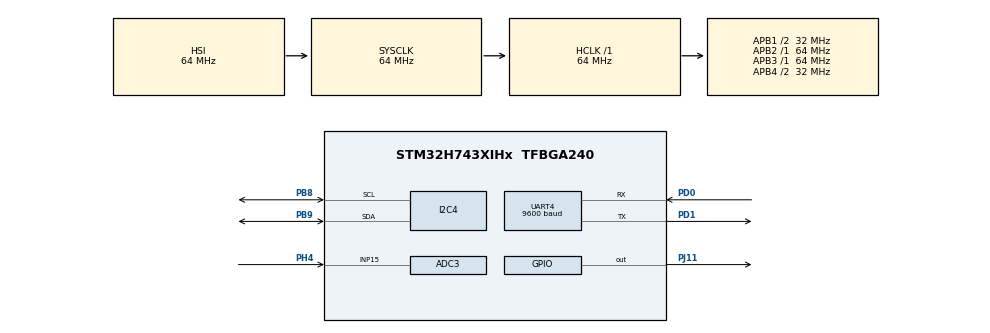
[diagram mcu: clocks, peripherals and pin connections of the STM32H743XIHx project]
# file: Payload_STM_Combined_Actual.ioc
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ADC3.Channel-0\#ChannelRegularConversion=ADC_CHANNEL_15
ADC3.NbrOfConversionFlag=1
ADC3.OffsetNumber-0\#ChannelRegularConversion=ADC_OFFSET_NONE
ADC3.OffsetSignedSaturation-0\#ChannelRegularConversion=DISABLE
ADC3.Rank-0\#ChannelRegularConversion=1
ADC3.SamplingTime-0\#ChannelRegularConversion=ADC_SAMPLETIME_1CYCLE_5
CORTEX_M7.default_mode_Activation=1
I2C4.Timing=0x00707CBB
Mcu.Family=STM32H7
Mcu.Name=STM32H743XIHx
Mcu.Package=TFBGA240
NVIC.PriorityGroup=NVIC_PRIORITYGROUP_4
PB8.Mode=I2C
PB8.Signal=I2C4_SCL
PB9.Mode=I2C
PB9.Signal=I2C4_SDA
PD0.Mode=Asynchronous
PD0.Signal=UART4_RX
PD1.Mode=Asynchronous
PD1.Signal=UART4_TX
PH4.Mode=IN15-Single-Ended
PH4.Signal=ADC3_INP15
PJ11.Signal=GPIO_Output
ProjectManager.HeapSize=0x200
ProjectManager.StackSize=0x400
ProjectManager.TargetToolchain=STM32CubeIDE
RCC.ADCFreq_Value=80000000
RCC.APB1Freq_Value=32000000
RCC.APB2Freq_Value=64000000
RCC.APB3Freq_Value=64000000
RCC.APB4Freq_Value=32000000
RCC.CortexFreq_Value=64000000
RCC.D2PPRE1=RCC_APB1_DIV2
RCC.D3PPRE=RCC_APB4_DIV2
RCC.DIVM2=4
RCC.DIVN2=10
RCC.HCLKFreq_Value=64000000
RCC.PLL2FRACN=0
RCC.SYSCLKFreq_VALUE=64000000
RCC.USBFreq_Value=129000000
UART4.BaudRate=9600
VP_MEMORYMAP_VS_MEMORYMAP.Mode=CurAppReg
board=custom

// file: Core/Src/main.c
/* USER CODE BEGIN Header */
/**
  ******************************************************************************
  * @file           : main.c
  * @brief          : Main program body
  ******************************************************************************
  * @attention
  *
  * Copyright (c) 2026 STMicroelectronics.
  * All rights reserved.
  *
  * This software is licensed under terms that can be found in the LICENSE file
  * in the root directory of this software component.
  * If no LICENSE file comes with this software, it is provided AS-IS.
  *
  ******************************************************************************
  */
/* USER CODE END Header */
#include "main.h"

/* USER CODE BEGIN Includes */
#include "gps.h"
#include <string.h>
#include <stdio.h>
/* USER CODE END Includes */

/* USER CODE BEGIN PD */
#define MCP3021_ADDR  (0x4D << 1)  // 7-bit addr shifted for HAL
#define MEAS_BUFFER_SIZE 100 // Keep this many values
/* USER CODE END PD */

ADC_HandleTypeDef hadc3;

I2C_HandleTypeDef hi2c4;

UART_HandleTypeDef huart4;

void SystemClock_Config(void);
static void MPU_Config(void);
static void MX_GPIO_Init(void);
static void MX_ADC3_Init(void);
static void MX_I2C4_Init(void);
static void MX_UART4_Init(void);

/* USER CODE BEGIN 0 */

/**
 * Reads the raw 10-bit ADC value from MCP3021.
 * Returns -1 on I2C error.
 */
int32_t MCP3021_ReadRaw(I2C_HandleTypeDef *hi2c)
{
    uint8_t buf[2] = {0};

    if (HAL_I2C_Master_Receive(hi2c, MCP3021_ADDR, buf, 2, HAL_MAX_DELAY) != HAL_OK)
        return -1;

    // Data is 10-bit, MSB first, left-justified across two bytes
    // Bits [15:6] of the 16-bit word are the ADC data
    uint16_t raw = ((uint16_t)buf[0] << 8) | buf[1];
    raw = (raw >> 2) & 0x03FF;  // shift right 2, mask to 10 bits (SAR format)

    return (int32_t)raw;
}

/**
 * Converts raw ADC value to voltage (assuming 3.3V reference).
 */
float MCP3021_ReadVoltage(I2C_HandleTypeDef *hi2c)
{
    int32_t raw = MCP3021_ReadRaw(hi2c);
    if (raw < 0) return -1.0f;

    return ((float)raw / 1023.0f) * 3.3f;
}

float voltage_triangle = 0.0f; // Raw reading
float voltage_langmuir = 0.0f; // Raw reading

float voltage = 0.0f; // Calculated reading
float current = 0.0f; // Calculated reading

float measurements_voltage[MEAS_BUFFER_SIZE] = {0}; // Storage
float measurements_current[MEAS_BUFFER_SIZE] = {0}; // Storage

uint8_t meas_index = 0; // Counter

HAL_StatusTypeDef i2c_status;
uint32_t i2c_error;

float ReadInternalADC(void)
{
    HAL_ADC_Start(&hadc3);
    if (HAL_ADC_PollForConversion(&hadc3, 100) != HAL_OK)
        return -1.0f;

    uint32_t raw = HAL_ADC_GetValue(&hadc3);
    HAL_ADC_Stop(&hadc3);

    // STM32H7 ADC is 16-bit, max value 65535
    return ((float)raw / 65535.0f) * 3.3f;
}

/* USER CODE END 0 */

int main(void)
{

  /* MPU Configuration--------------------------------------------------------*/
  MPU_Config();

  /* MCU Configuration--------------------------------------------------------*/

  /* Reset of all peripherals, Initializes the Flash interface and the Systick. */
  HAL_Init();

  /* Configure the system clock */
  SystemClock_Config();

  /* Initialize all configured peripherals */
  MX_GPIO_Init();
  MX_ADC3_Init();
  MX_I2C4_Init();
  MX_UART4_Init();
  /* USER CODE BEGIN 2 */

  HAL_ADCEx_Calibration_Start(&hadc3, ADC_CALIB_OFFSET, ADC_SINGLE_ENDED);
  GPS_Init();

  /* USER CODE END 2 */

  /* Infinite loop */
  /* USER CODE BEGIN WHILE */
  while (1)
  {
	uint8_t buf[2] = {0};
	i2c_status = HAL_I2C_Master_Receive(&hi2c4, MCP3021_ADDR, buf, 2, HAL_MAX_DELAY);
	i2c_error  = HAL_I2C_GetError(&hi2c4);

	// payload_task(&ctx, mode, &hi2c4, &huart4){
	// if (MODE_SCIENCE){
		// langmuir_task(&hi2c4)
		// gps_task(&huart4)
	// }
	// if (MODE_DEPLOYMENT){
		// burn_task(

	// Read raw voltages
	voltage_triangle = MCP3021_ReadVoltage(&hi2c4);
	voltage_langmuir = ReadInternalADC(); // Read voltages

	// Calculate voltage and current
	voltage = (voltage_triangle * 169.0f) - 266.4f;
	current = (((voltage_langmuir * 70.3f) - 109.9f) - voltage) / 3000.0f; // Calculate current and voltage

	// Add to memory
	measurements_voltage[meas_index] = voltage;
	measurements_current[meas_index] = current;
	meas_index = (meas_index + 1) % MEAS_BUFFER_SIZE;

	HAL_Delay(100);  // Read every 100ms
    /* USER CODE END WHILE */

    /* USER CODE BEGIN 3 */
	//	    if (gps_line_ready) {
	//	        gps_line_ready = 0;
	//	        HAL_UART_Transmit(&huart1, print_buffer, strlen((char*)print_buffer), 100);
	//	        HAL_UART_Transmit(&huart1, (uint8_t*)"\r\n", 2, 100);
	//	    }

	if (gps_line_ready) {
		gps_line_ready = 0;

		if (GPS.lock > 0) {
			// We have a valid fix
			char out[128];
			snprintf(out, sizeof(out),
				"LAT: %.6f  LON: %.6f  Sats: %d  Alt: %.1f m\r\n",
				GPS.dec_latitude,
				GPS.dec_longitude,
				GPS.satelites,
				GPS.msl_altitude);
			HAL_UART_Transmit(&huart4, (uint8_t*)out, strlen(out), 100);
		} else {
			// No fix yet
			uint8_t msg[] = "No fix\r\n";
			HAL_UART_Transmit(&huart4, msg, sizeof(msg)-1, 100);
		}
	}

  }
  /* USER CODE END 3 */
}

void SystemClock_Config(void)
{
  RCC_OscInitTypeDef RCC_OscInitStruct = {0};
  RCC_ClkInitTypeDef RCC_ClkInitStruct = {0};

  /** Supply configuration update enable
  */
  HAL_PWREx_ConfigSupply(PWR_LDO_SUPPLY);

  /** Configure the main internal regulator output voltage
  */
  __HAL_PWR_VOLTAGESCALING_CONFIG(PWR_REGULATOR_VOLTAGE_SCALE3);

  while(!__HAL_PWR_GET_FLAG(PWR_FLAG_VOSRDY)) {}

  /** Macro to configure the PLL clock source
  */
  __HAL_RCC_PLL_PLLSOURCE_CONFIG(RCC_PLLSOURCE_HSI);

  /** Initializes the RCC Oscillators according to the specified parameters
  * in the RCC_OscInitTypeDef structure.
  */
  RCC_OscInitStruct.OscillatorType = RCC_OSCILLATORTYPE_HSI;
  RCC_OscInitStruct.HSIState = RCC_HSI_DIV1;
  RCC_OscInitStruct.HSICalibrationValue = RCC_HSICALIBRATION_DEFAULT;
  RCC_OscInitStruct.PLL.PLLState = RCC_PLL_NONE;
  if (HAL_RCC_OscConfig(&RCC_OscInitStruct) != HAL_OK)
  {
    Error_Handler();
  }

  /** Initializes the CPU, AHB and APB buses clocks
  */
  RCC_ClkInitStruct.ClockType = RCC_CLOCKTYPE_HCLK|RCC_CLOCKTYPE_SYSCLK
                              |RCC_CLOCKTYPE_PCLK1|RCC_CLOCKTYPE_PCLK2
                              |RCC_CLOCKTYPE_D3PCLK1|RCC_CLOCKTYPE_D1PCLK1;
  RCC_ClkInitStruct.SYSCLKSource = RCC_SYSCLKSOURCE_HSI;
  RCC_ClkInitStruct.SYSCLKDivider = RCC_SYSCLK_DIV1;
  RCC_ClkInitStruct.AHBCLKDivider = RCC_HCLK_DIV1;
  RCC_ClkInitStruct.APB3CLKDivider = RCC_APB3_DIV1;
  RCC_ClkInitStruct.APB1CLKDivider = RCC_APB1_DIV2;
  RCC_ClkInitStruct.APB2CLKDivider = RCC_APB2_DIV1;
  RCC_ClkInitStruct.APB4CLKDivider = RCC_APB4_DIV2;

  if (HAL_RCC_ClockConfig(&RCC_ClkInitStruct, FLASH_LATENCY_1) != HAL_OK)
  {
    Error_Handler();
  }
}

static void MX_ADC3_Init(void)
{

  ADC_ChannelConfTypeDef sConfig = {0};

  /** Common config
  */
  hadc3.Instance = ADC3;
  hadc3.Init.Resolution = ADC_RESOLUTION_16B;
  hadc3.Init.ScanConvMode = ADC_SCAN_DISABLE;
  hadc3.Init.EOCSelection = ADC_EOC_SINGLE_CONV;
  hadc3.Init.LowPowerAutoWait = DISABLE;
  hadc3.Init.ContinuousConvMode = DISABLE;
  hadc3.Init.NbrOfConversion = 1;
  hadc3.Init.DiscontinuousConvMode = DISABLE;
  hadc3.Init.ExternalTrigConv = ADC_SOFTWARE_START;
  hadc3.Init.ExternalTrigConvEdge = ADC_EXTERNALTRIGCONVEDGE_NONE;
  hadc3.Init.ConversionDataManagement = ADC_CONVERSIONDATA_DR;
  hadc3.Init.Overrun = ADC_OVR_DATA_PRESERVED;
  hadc3.Init.LeftBitShift = ADC_LEFTBITSHIFT_NONE;
  hadc3.Init.OversamplingMode = DISABLE;
  hadc3.Init.Oversampling.Ratio = 1;
  if (HAL_ADC_Init(&hadc3) != HAL_OK)
  {
    Error_Handler();
  }

  /** Configure Regular Channel
  */
  sConfig.Channel = ADC_CHANNEL_15;
  sConfig.Rank = ADC_REGULAR_RANK_1;
  sConfig.SamplingTime = ADC_SAMPLETIME_1CYCLE_5;
  sConfig.SingleDiff = ADC_SINGLE_ENDED;
  sConfig.OffsetNumber = ADC_OFFSET_NONE;
  sConfig.Offset = 0;
  sConfig.OffsetSignedSaturation = DISABLE;
  if (HAL_ADC_ConfigChannel(&hadc3, &sConfig) != HAL_OK)
  {
    Error_Handler();
  }

}

static void MX_I2C4_Init(void)
{

  hi2c4.Instance = I2C4;
  hi2c4.Init.Timing = 0x00707CBB;
  hi2c4.Init.OwnAddress1 = 0;
  hi2c4.Init.AddressingMode = I2C_ADDRESSINGMODE_7BIT;
  hi2c4.Init.DualAddressMode = I2C_DUALADDRESS_DISABLE;
  hi2c4.Init.OwnAddress2 = 0;
  hi2c4.Init.OwnAddress2Masks = I2C_OA2_NOMASK;
  hi2c4.Init.GeneralCallMode = I2C_GENERALCALL_DISABLE;
  hi2c4.Init.NoStretchMode = I2C_NOSTRETCH_DISABLE;
  if (HAL_I2C_Init(&hi2c4) != HAL_OK)
  {
    Error_Handler();
  }

  /** Configure Analogue filter
  */
  if (HAL_I2CEx_ConfigAnalogFilter(&hi2c4, I2C_ANALOGFILTER_ENABLE) != HAL_OK)
  {
    Error_Handler();
  }

  /** Configure Digital filter
  */
  if (HAL_I2CEx_ConfigDigitalFilter(&hi2c4, 0) != HAL_OK)
  {
    Error_Handler();
  }

}

static void MX_UART4_Init(void)
{

  huart4.Instance = UART4;
  huart4.Init.BaudRate = 9600;
  huart4.Init.WordLength = UART_WORDLENGTH_8B;
  huart4.Init.StopBits = UART_STOPBITS_1;
  huart4.Init.Parity = UART_PARITY_NONE;
  huart4.Init.Mode = UART_MODE_TX_RX;
  huart4.Init.HwFlowCtl = UART_HWCONTROL_NONE;
  huart4.Init.OverSampling = UART_OVERSAMPLING_16;
  huart4.Init.OneBitSampling = UART_ONE_BIT_SAMPLE_DISABLE;
  huart4.Init.ClockPrescaler = UART_PRESCALER_DIV1;
  huart4.AdvancedInit.AdvFeatureInit = UART_ADVFEATURE_NO_INIT;
  if (HAL_UART_Init(&huart4) != HAL_OK)
  {
    Error_Handler();
  }
  if (HAL_UARTEx_SetTxFifoThreshold(&huart4, UART_TXFIFO_THRESHOLD_1_8) != HAL_OK)
  {
    Error_Handler();
  }
  if (HAL_UARTEx_SetRxFifoThreshold(&huart4, UART_RXFIFO_THRESHOLD_1_8) != HAL_OK)
  {
    Error_Handler();
  }
  if (HAL_UARTEx_DisableFifoMode(&huart4) != HAL_OK)
  {
    Error_Handler();
  }

}

static void MX_GPIO_Init(void)
{
  GPIO_InitTypeDef GPIO_InitStruct = {0};

  /* GPIO Ports Clock Enable */
  __HAL_RCC_GPIOB_CLK_ENABLE();
  __HAL_RCC_GPIOD_CLK_ENABLE();
  __HAL_RCC_GPIOJ_CLK_ENABLE();
  __HAL_RCC_GPIOH_CLK_ENABLE();

  /*Configure GPIO pin Output Level */
  HAL_GPIO_WritePin(GPIOJ, GPIO_PIN_11, GPIO_PIN_RESET);

  /*Configure GPIO pin : PJ11 */
  GPIO_InitStruct.Pin = GPIO_PIN_11;
  GPIO_InitStruct.Mode = GPIO_MODE_OUTPUT_PP;
  GPIO_InitStruct.Pull = GPIO_NOPULL;
  GPIO_InitStruct.Speed = GPIO_SPEED_FREQ_LOW;
  HAL_GPIO_Init(GPIOJ, &GPIO_InitStruct);

}

 /* MPU Configuration */

void MPU_Config(void)
{
  MPU_Region_InitTypeDef MPU_InitStruct = {0};

  /* Disables the MPU */
  HAL_MPU_Disable();

  /** Initializes and configures the Region and the memory to be protected
  */
  MPU_InitStruct.Enable = MPU_REGION_ENABLE;
  MPU_InitStruct.Number = MPU_REGION_NUMBER0;
  MPU_InitStruct.BaseAddress = 0x0;
  MPU_InitStruct.Size = MPU_REGION_SIZE_4GB;
  MPU_InitStruct.SubRegionDisable = 0x87;
  MPU_InitStruct.TypeExtField = MPU_TEX_LEVEL0;
  MPU_InitStruct.AccessPermission = MPU_REGION_NO_ACCESS;
  MPU_InitStruct.DisableExec = MPU_INSTRUCTION_ACCESS_DISABLE;
  MPU_InitStruct.IsShareable = MPU_ACCESS_SHAREABLE;
  MPU_InitStruct.IsCacheable = MPU_ACCESS_NOT_CACHEABLE;
  MPU_InitStruct.IsBufferable = MPU_ACCESS_NOT_BUFFERABLE;

  HAL_MPU_ConfigRegion(&MPU_InitStruct);
  /* Enables the MPU */
  HAL_MPU_Enable(MPU_PRIVILEGED_DEFAULT);

}

void Error_Handler(void)
{
  __disable_irq();
  while (1)
  {
  }
}
